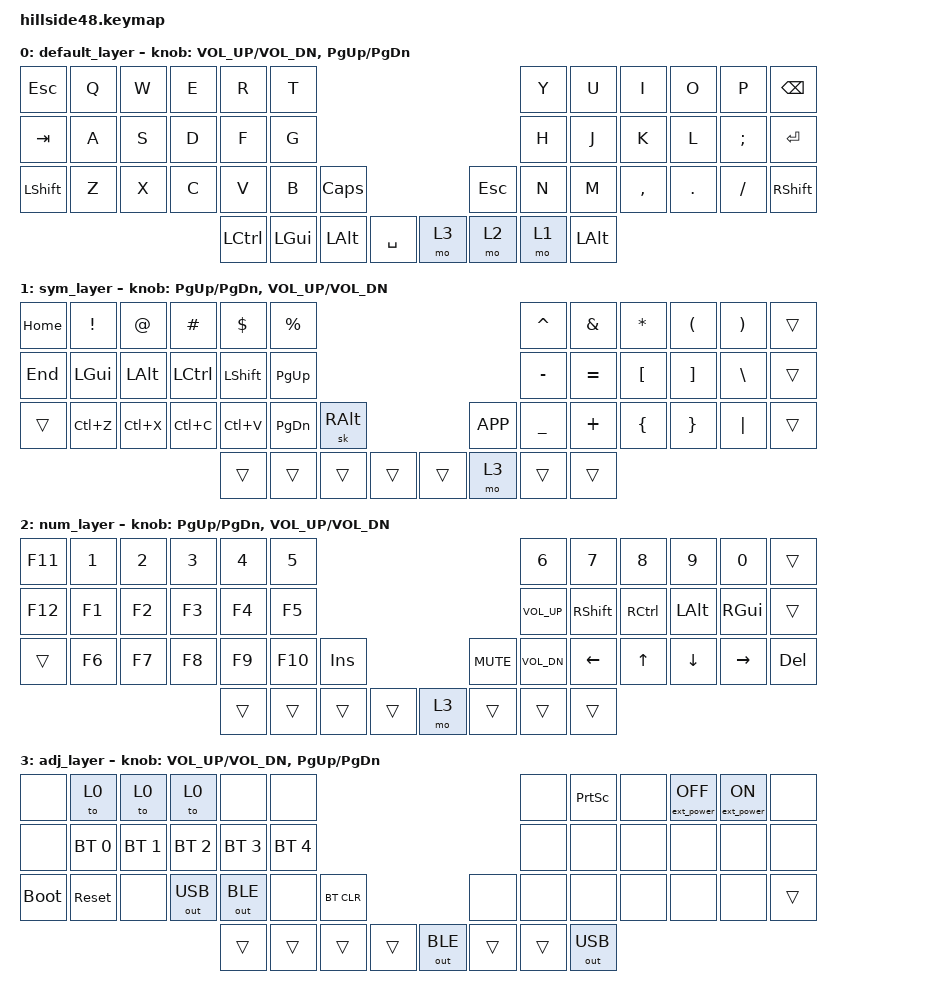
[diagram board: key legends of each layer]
/*
 * Copyright (c) 2022 The ZMK Contributors
 *
 * SPDX-License-Identifier: MIT
 */

#include <behaviors.dtsi>
#include <dt-bindings/zmk/bt.h>
#include <dt-bindings/zmk/ext_power.h>
#include <dt-bindings/zmk/keys.h>
#include <dt-bindings/zmk/outputs.h>

#define QWERTY_L 0
#define DVORAK_L 1
#define COLEMK_L 2
#define SYM_L    3
#define NUM_L    4
#define ADJ_L    5
#define Undo   LC(Z)
#define Cut    LC(X)
#define Copy   LC(C)
#define Paste  LC(V)

/ {
    keymap {
        compatible = "zmk,keymap";

        default_layer {
            /* QWERTY
 * -------------------------------------------------------------------------------------------------------------------------------------
 * | `     |   Q   |   W   |   E   |   R   |   T   |-----------------------------------|   Y   |   U   |   I   |   O   |   P   | BKSPC |
 * | TAB   |   A   |   S   |   D   |   F   |   G   |-----------------------------------|   H   |   J   |   K   |   L   |   ;   | ENTER |
 * | SHIFT |   Z   |   X   |   C   |   V   |   B   | CAPS  |-------------------|  ESC  |   N   |   M   |   ,   |   .   |   /   | SHIFT |
 * ----------------| CTRL  |-------|  GUI  |  ALT  | SPACE |  Sym  |---|  Num  | SPACE |  ALT  |  GUI  |-------|   '   |----------------
 */

            bindings = <
&kp ESCAPE  &kp Q  &kp W  &kp E  &kp R      &kp T                                            &kp Y  &kp U     &kp I      &kp O    &kp P      &kp BSPC
&kp TAB     &kp A  &kp S  &kp D  &kp F      &kp G                                            &kp H  &kp J     &kp K      &kp L    &kp SEMI   &kp ENTER
&kp LSHFT   &kp Z  &kp X  &kp C  &kp V      &kp B     &kp CAPS                      &kp ESC  &kp N  &kp M     &kp COMMA  &kp DOT  &kp SLASH  &kp RSHFT
                                 &kp LCTRL  &kp LGUI  &kp LALT  &kp SPACE    &mo 3  &mo 2    &mo 1  &kp LALT
            >;

            sensor-bindings = <&inc_dec_kp C_VOL_UP C_VOL_DN &inc_dec_kp PG_UP PG_DN>;
        };

        sym_layer {
            /* SYM
 * -------------------------------------------------------------------------------------------------------------------------------------
 * | HOME  |   !   |   @   |   #   |   $   |   %   |-----------------------------------|   ^   |   &   |   *   |   (   |   )   | BSPC  |
 * | END   |  GUI  |  Alt  | Ctrl  | Shift | Pg Up |-----------------------------------|   -   |   =   |   [   |   ]   |   \   | ENTER |
 * | Shift |  UnDo |  Cut  | Copy  | Paste | Pg Dn |OsAltGr|-------------------| MENU  |   _   |   +   |   {   |   }   |   |   | SHIFT |
 * ----------------|       |-------|       |       |       |       |---| ADJ_L |       |       |       |-------| CTRL  |----------------
 */

            bindings = <
&kp HOME  &kp EXCL  &kp AT    &kp HASH   &kp DOLLAR  &kp PERCENT                                         &kp CARET  &kp AMPS   &kp ASTRK  &kp LPAR  &kp RPAR  &trans
&kp END   &kp LGUI  &kp LALT  &kp LCTRL  &kp LSHFT   &kp PG_UP                                           &kp MINUS  &kp EQUAL  &kp LBKT   &kp RBKT  &kp BSLH  &trans
&trans    &kp Undo  &kp Cut   &kp Copy   &kp Paste   &kp PG_DN    &sk RALT                    &kp K_APP  &kp UNDER  &kp PLUS   &kp LBRC   &kp RBRC  &kp PIPE  &trans
                                         &trans      &trans       &trans    &trans    &trans  &mo 3      &trans     &trans
            >;

            sensor-bindings = <&inc_dec_kp PG_UP PG_DN &inc_dec_kp C_VOL_UP C_VOL_DN>;
        };

        num_layer {
            /* NUM   
 * -------------------------------------------------------------------------------------------------------------------------------------
 * | F11   |   1   |   2   |   3   |   4   |   5   |-----------------------------------|   6   |   7   |   8   |   9   |       | BSPC  |
 * | F12   |  F1   |  F2   |  F3   |  F4   |  F5   |-----------------------------------|VOL UP | Shift | Ctrl  | Alt   | Gui   | ENTER |
 * | Shift |  F6   |  F7   |  F8   |  F9   |  F10  |  INS  |-------------------| MUTE  |VOL DN | Left  |  Up   | Down  | Right | DELETE|
 * ----------------|       |-------|       |       |       | ADJ_L |---|       |       |       |       |-------| CTRL  |----------------
 */

            bindings = <
&kp F11  &kp N1  &kp N2  &kp N3  &kp N4  &kp N5                                         &kp N6        &kp N7     &kp N8     &kp N9    &kp N0     &trans
&kp F12  &kp F1  &kp F2  &kp F3  &kp F4  &kp F5                                         &kp C_VOL_UP  &kp RSHFT  &kp RCTRL  &kp LALT  &kp RGUI   &trans
&trans   &kp F6  &kp F7  &kp F8  &kp F9  &kp F10  &kp INS                   &kp C_MUTE  &kp C_VOL_DN  &kp LEFT   &kp UP     &kp DOWN  &kp RIGHT  &kp DEL
                                 &trans  &trans   &trans   &trans    &mo 3  &trans      &trans        &trans
            >;

            sensor-bindings = <&inc_dec_kp PG_UP PG_DN &inc_dec_kp C_VOL_UP C_VOL_DN>;
        };

        adj_layer {
            /* ADJUST
 * -------------------------------------------------------------------------------------------------------------------------------------
 * |       | QWERTY| DVORAK| COLEMK|       |       |-----------------------------------|       |Prt Scr|       | EP_OFF| EP_ON |       |
 * |       | BT 0  | BT 1  | BT 2  | BT 3  | BT 4  |-----------------------------------|       |       |       |       |       |       |
 * | BOOTL | RESET |       |OUT_USB|OUT_BLE|       |BT CLR |-------------------|       |       |       |       |       |       | SHIFT |
 * ----------------|       |-------|       |       |       |       |---|       |       |       |       |-------| CTRL  |----------------
 */

            bindings = <
&none        &to 0         &to 0         &to 0         &none         &none                                                     &none   &kp PRINTSCREEN  &none  &ext_power EP_OFF  &ext_power EP_ON  &none
&none        &bt BT_SEL 0  &bt BT_SEL 1  &bt BT_SEL 2  &bt BT_SEL 3  &bt BT_SEL 4                                              &none   &none            &none  &none              &none             &none
&bootloader  &sys_reset    &none         &out OUT_USB  &out OUT_BLE  &none         &bt BT_CLR                          &none   &none   &none            &none  &none              &none             &trans
                                                       &trans        &trans        &trans      &trans    &out OUT_BLE  &trans  &trans  &out OUT_USB
            >;

            sensor-bindings = <&inc_dec_kp C_VOL_UP C_VOL_DN &inc_dec_kp PG_UP PG_DN>;
        };
    };
};
